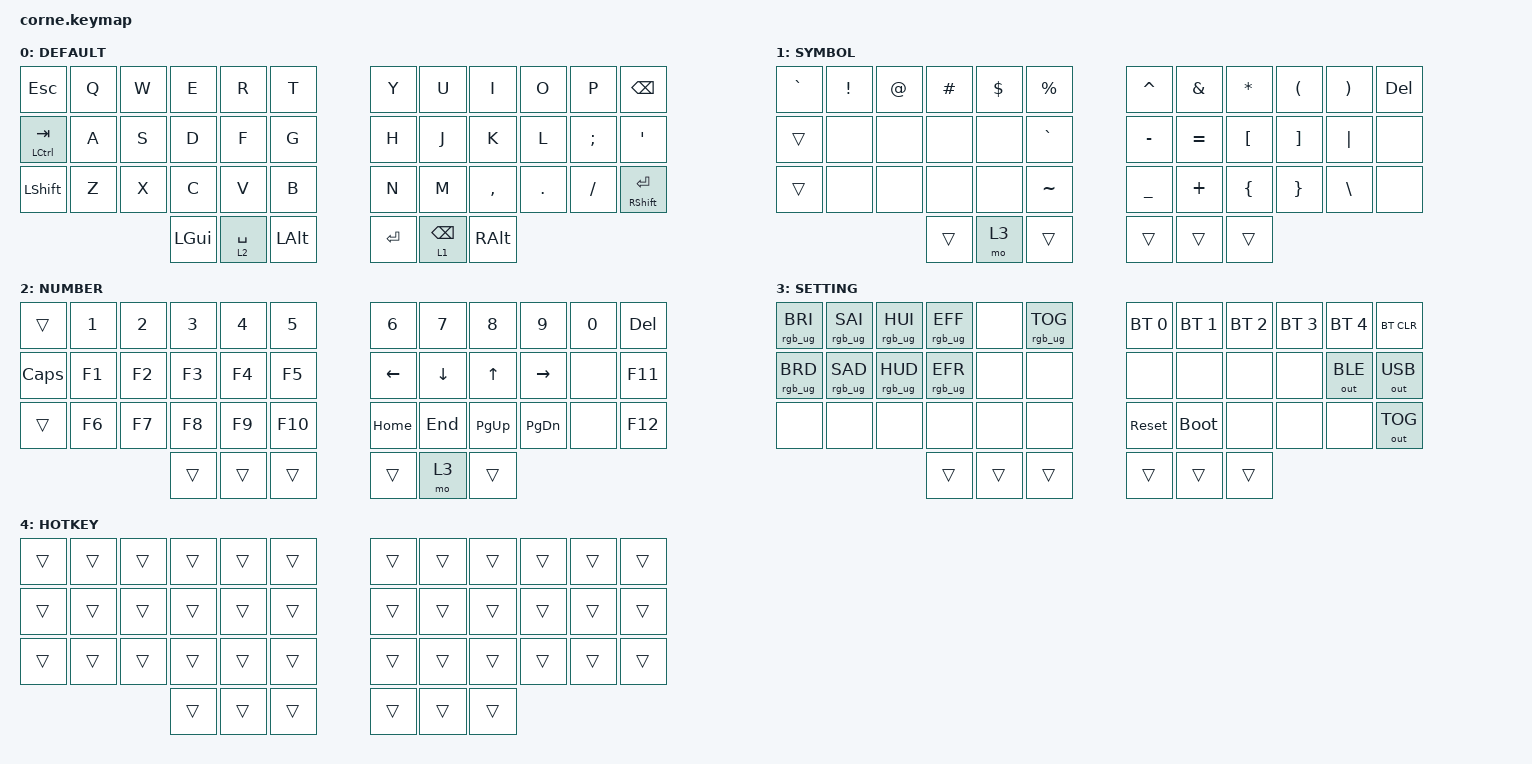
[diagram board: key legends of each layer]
/*
 * Copyright (c) 2020 The ZMK Contributors
 *
 * SPDX-License-Identifier: MIT
 */

#include <behaviors.dtsi>
#include <dt-bindings/zmk/keys.h>
#include <dt-bindings/zmk/rgb.h>
#include <dt-bindings/zmk/bt.h>
#include <dt-bindings/zmk/outputs.h>

#define DEFAULT 0
#define SYMBOL  1
#define NUMBER  2
#define SETTING 3

/ {
    combos {
        compatible = "zmk,combos";

        rt {
            bindings = <&kp LEFT_PARENTHESIS>;
            key-positions = <4 5>;
            layers = <0>;
            timeout-ms = <50>;
        };

        yu {
            bindings = <&kp RIGHT_PARENTHESIS>;
            key-positions = <6 7>;
            layers = <0>;
            timeout-ms = <50>;
        };

        fg {
            bindings = <&kp LEFT_BRACKET>;
            key-positions = <16 17>;
            layers = <0>;
            timeout-ms = <50>;
        };

        hj {
            bindings = <&kp RIGHT_BRACKET>;
            key-positions = <18 19>;
            layers = <0>;
            timeout-ms = <50>;
        };

        vb {
            bindings = <&kp LEFT_BRACE>;
            key-positions = <28 29>;
            layers = <0>;
            timeout-ms = <50>;
        };

        nm {
            bindings = <&kp RIGHT_BRACE>;
            key-positions = <30 31>;
            layers = <0>;
            timeout-ms = <50>;
        };

        cv {
            bindings = <&kp PIPE>;
            key-positions = <27 28>;
            layers = <0>;
            timeout-ms = <50>;
        };

        m_ {
            bindings = <&kp BSLH>;
            key-positions = <31 32>;
            layers = <0>;
            timeout-ms = <50>;
        };
    };

    keymap {
        compatible = "zmk,keymap";

        DEFAULT {
            // -----------------------------------------------------------------------------------------
            // | TAB  |  Q  |  W  |  E  |  R       |  T  |     |  Y  |  U        |  I  |  O  |  P  |   BKSP    |
            // | SHFT |  A  |  S  |  D  |  F       |  G  |     |  H  |  J        |  K  |  L  |  ;  |     '     |
            // | CTRL |  Z  |  X  |  C  |  V       |  B  |     |  N  |  M        |  ,  |  .  |  /  | SHFT(RET) |
            //                    | GUI | SPC(NUM) | ALT |     | ENT | SPC(SYM)  | ALT |

            label = "DEFAULT";
            bindings = <
              &kp ESC   &kp Q   &kp W     &kp E        &kp R     &kp T            &kp Y            &kp U          &kp I    &kp O     &kp P       &kp BSPC
 &mt LEFT_CONTROL TAB   &kp A   &kp S     &kp D        &kp F     &kp G            &kp H            &kp J          &kp K    &kp L  &kp SEMI        &kp SQT
       &kp LEFT_SHIFT   &kp Z   &kp X     &kp C        &kp V     &kp B            &kp N            &kp M      &kp COMMA  &kp DOT  &kp FSLH  &mt RSHFT RET
                                       &kp LGUI  &lt 2 SPACE  &kp LALT          &kp RET  &lt 1 BACKSPACE  &kp RIGHT_ALT
            >;
        };

        SYMBOL {
            // -----------------------------------------------------------------------------------------
            // | ESC  |  !  |  @  |  #  |  $  |  %  |     |  ^   |  &   |  *   |  (   |  )  | DEL |
            // |      | CAPS|     |  {  |  }  | "|" |     | LEFT | DOWN |  UP  | RGT  |  :  |  "  |
            // |      |     |     |     |  `  |  ~  |     | HOME | END  | PGUP | PGDN | INS | ALT |
            //                    |     | SET |     |     |      |      |      |

            label = "SYMBOL";
            bindings = <
 &kp GRAVE  &kp EXCL  &kp AT  &kp HASH  &kp DLLR  &kp PRCNT          &kp CARET   &kp AMPS          &kp STAR           &kp LPAR       &kp RPAR  &kp DEL
    &trans     &none   &none     &none     &none  &kp GRAVE          &kp MINUS  &kp EQUAL  &kp LEFT_BRACKET  &kp RIGHT_BRACKET       &kp PIPE    &none
    &trans     &none   &none     &none     &none  &kp TILDE          &kp UNDER   &kp PLUS    &kp LEFT_BRACE    &kp RIGHT_BRACE  &kp BACKSLASH    &none
                                &trans     &mo 3     &trans             &trans     &trans            &trans
            >;
        };

        NUMBER {
            // -----------------------------------------------------------------------------------------
            // | ESC |  1  |  2  |  3  |  4  |  5  |   |  6  |  7  |  8  |  9  |  0  | DEL  |
            // | SHF |  F1 |  F2 |  F3 | F4  |  F5 |   |  -  |  =  |  [  |  ]  |  \  | F11  |
            // | CTL |  F6 |  F7 |  F8 | F9  | F10 |   |  _  |  +  |  {  |  }  | "|" | F12  |
            //                   |     |     |     |   | SET |     |     |

            label = "NUMBER";
            bindings = <
   &trans  &kp N1  &kp N2  &kp N3  &kp N4   &kp N5            &kp N6    &kp N7     &kp N8     &kp N9  &kp N0  &kp DEL
 &kp CAPS  &kp F1  &kp F2  &kp F3  &kp F4   &kp F5          &kp LEFT  &kp DOWN     &kp UP  &kp RIGHT   &none  &kp F11
   &trans  &kp F6  &kp F7  &kp F8  &kp F9  &kp F10          &kp HOME   &kp END  &kp PG_UP  &kp PG_DN   &none  &kp F12
                           &trans  &trans   &trans            &trans     &mo 3     &trans
            >;
        };

        SETTING {
            // -----------------------------------------------------------------------------------------
            // | RGB BRI+ | RGB SAT+ | RGB HUE+ | RGB ANI+ | | RGB TOG |     |  BT1  | BT2 | BT3 | BT4 | BT5 | BT CLR |
            // | RGB BRI- | RGB SAT- | RGB HUE- | RGB ANI- | |         |     |       |     |     |     |     |        |
            // |          |          |          |          | |         |     | RESET |     |     |     |     |        |
            //                                  |          | |         |     |       |     |     |

            label = "SETTING";
            bindings = <
 &rgb_ug RGB_BRI  &rgb_ug RGB_SAI  &rgb_ug RGB_HUI  &rgb_ug RGB_EFF   &none  &rgb_ug RGB_TOG          &bt BT_SEL 0  &bt BT_SEL 1  &bt BT_SEL 2  &bt BT_SEL 3  &bt BT_SEL 4    &bt BT_CLR
 &rgb_ug RGB_BRD  &rgb_ug RGB_SAD  &rgb_ug RGB_HUD  &rgb_ug RGB_EFR   &none            &none                 &none         &none         &none         &none  &out OUT_BLE  &out OUT_USB
           &none            &none            &none            &none   &none            &none                &sys_reset   &bootloader         &none         &none         &none  &out OUT_TOG
                                                             &trans  &trans           &trans                &trans        &trans        &trans
            >;
        };

       HOTKEY {
           bindings = <
&trans  &trans  &trans  &trans  &trans  &trans          &trans  &trans  &trans  &trans  &trans  &trans
&trans  &trans  &trans  &trans  &trans  &trans          &trans  &trans  &trans  &trans  &trans  &trans
&trans  &trans  &trans  &trans  &trans  &trans          &trans  &trans  &trans  &trans  &trans  &trans
                        &trans  &trans  &trans          &trans  &trans  &trans
           >;
       };
    };
};
